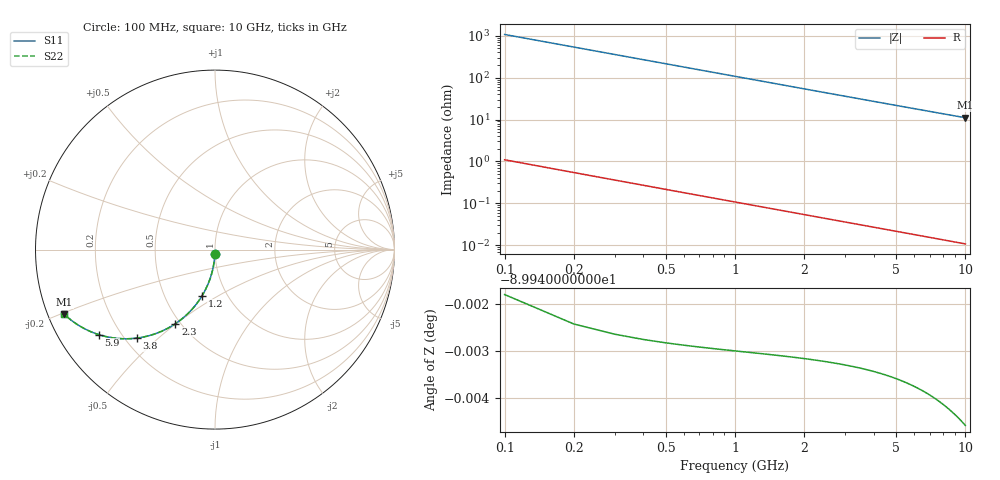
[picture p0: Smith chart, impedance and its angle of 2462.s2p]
# Hz S RI R 50.00
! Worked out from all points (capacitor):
!   100 points, 100 MHz to 10 GHz, reference 50 ohm
!   read as one part in shunt: C = 1.48 pF near 100 MHz
!   lowest |Z| = 11.1 ohm at 10 GHz (marker M1)
!   S11 on the Smith chart (normalised r, x): 100 MHz: 1.00, -0.05; 1.2 GHz: 0.76, -0.42; 2.3 GHz: 0.47, -0.50; 3.8 GHz: 0.25, -0.43; 5.9 GHz: 0.12, -0.32; 10 GHz: 0.05, -0.20
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1e8  -0.00055 -0.0231  0.9994 -0.0232  0.9994 -0.0232  -0.00055 -0.0231
2e8  -0.00218 -0.0462  0.9978 -0.0464  0.9978 -0.0464  -0.00218 -0.0462
3e8  -0.00487 -0.0691  0.9951 -0.0694  0.9951 -0.0694  -0.00487 -0.0691
4e8  -0.00861 -0.0917  0.9914 -0.0922  0.9914 -0.0922  -0.00861 -0.0917
5e8  -0.0134 -0.1141  0.9866 -0.1147  0.9866 -0.1147  -0.0134 -0.1141
6e8  -0.0191 -0.1361  0.9809 -0.1368  0.9809 -0.1368  -0.0191 -0.1361
7e8  -0.0258 -0.1576  0.9742 -0.1585  0.9742 -0.1585  -0.0258 -0.1576
9e8  -0.0419 -0.1993  0.9581 -0.2003  0.9581 -0.2003  -0.0419 -0.1993
1.2e9  -0.0719 -0.2572  0.928 -0.2586  0.928 -0.2586  -0.0719 -0.2572
1.5e9  -0.1079 -0.3088  0.8921 -0.3106  0.8921 -0.3106  -0.1079 -0.3088
1.8e9  -0.1481 -0.3536  0.8519 -0.3558  0.8519 -0.3558  -0.1481 -0.3536
2.3e9  -0.2206 -0.4128  0.7793 -0.4156  0.7793 -0.4156  -0.2206 -0.4128
2.8e9  -0.2951 -0.4539  0.7049 -0.4573  0.7049 -0.4573  -0.2951 -0.4539
3.4e9  -0.3811 -0.4831  0.6189 -0.4872  0.6189 -0.4872  -0.3811 -0.4831
3.8e9  -0.4343 -0.4929  0.5656 -0.4975  0.5656 -0.4975  -0.4343 -0.4929
4.4e9  -0.5067 -0.4968  0.4932 -0.5021  0.4932 -0.5021  -0.5067 -0.4968
5.1e9  -0.5793 -0.4901  0.4207 -0.4963  0.4207 -0.4963  -0.5793 -0.4901
5.9e9  -0.6477 -0.4736  0.3522 -0.4808  0.3522 -0.4808  -0.6477 -0.4736
6.7e9  -0.703 -0.4523  0.297 -0.4606  0.297 -0.4606  -0.703 -0.4523
7.5e9  -0.7475 -0.4293  0.2524 -0.4385  0.2524 -0.4385  -0.7475 -0.4293
8.4e9  -0.7876 -0.4032  0.2123 -0.4137  0.2123 -0.4137  -0.7876 -0.4032
1e10  -0.84 -0.3598  0.1599 -0.3723  0.1599 -0.3723  -0.84 -0.3598
